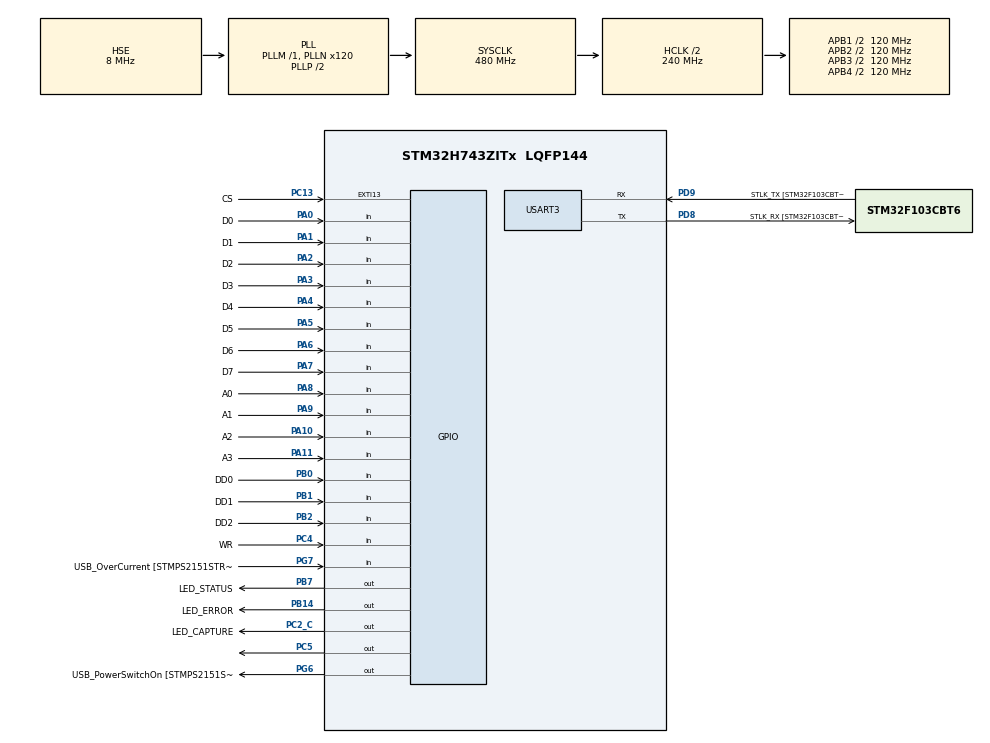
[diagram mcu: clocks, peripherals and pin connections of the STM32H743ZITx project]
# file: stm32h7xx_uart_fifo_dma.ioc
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Dma.Request0=USART3_TX
Dma.Request1=USART3_RX
Dma.USART3_RX.1.Direction=DMA_PERIPH_TO_MEMORY
Dma.USART3_RX.1.EventEnable=DISABLE
Dma.USART3_RX.1.FIFOMode=DMA_FIFOMODE_DISABLE
Dma.USART3_RX.1.Instance=DMA1_Stream0
Dma.USART3_RX.1.MemDataAlignment=DMA_MDATAALIGN_BYTE
Dma.USART3_RX.1.MemInc=DMA_MINC_ENABLE
Dma.USART3_RX.1.Mode=DMA_NORMAL
Dma.USART3_RX.1.PeriphDataAlignment=DMA_PDATAALIGN_BYTE
Dma.USART3_RX.1.PeriphInc=DMA_PINC_DISABLE
Dma.USART3_RX.1.Polarity=HAL_DMAMUX_REQ_GEN_RISING
Dma.USART3_RX.1.Priority=DMA_PRIORITY_LOW
Dma.USART3_RX.1.RequestNumber=1
Dma.USART3_RX.1.SignalID=NONE
Dma.USART3_RX.1.SyncEnable=DISABLE
Dma.USART3_RX.1.SyncPolarity=HAL_DMAMUX_SYNC_NO_EVENT
Dma.USART3_RX.1.SyncRequestNumber=1
Dma.USART3_RX.1.SyncSignalID=NONE
Dma.USART3_TX.0.Direction=DMA_MEMORY_TO_PERIPH
Dma.USART3_TX.0.EventEnable=DISABLE
Dma.USART3_TX.0.FIFOMode=DMA_FIFOMODE_DISABLE
Dma.USART3_TX.0.Instance=DMA1_Stream3
Dma.USART3_TX.0.MemDataAlignment=DMA_MDATAALIGN_BYTE
Dma.USART3_TX.0.MemInc=DMA_MINC_ENABLE
Dma.USART3_TX.0.Mode=DMA_NORMAL
Dma.USART3_TX.0.PeriphDataAlignment=DMA_PDATAALIGN_BYTE
Dma.USART3_TX.0.PeriphInc=DMA_PINC_DISABLE
Dma.USART3_TX.0.Polarity=HAL_DMAMUX_REQ_GEN_RISING
Dma.USART3_TX.0.Priority=DMA_PRIORITY_LOW
Dma.USART3_TX.0.RequestNumber=1
Dma.USART3_TX.0.SignalID=NONE
Dma.USART3_TX.0.SyncEnable=DISABLE
Dma.USART3_TX.0.SyncPolarity=HAL_DMAMUX_SYNC_NO_EVENT
Dma.USART3_TX.0.SyncRequestNumber=1
Dma.USART3_TX.0.SyncSignalID=NONE
Mcu.Family=STM32H7
Mcu.Name=STM32H743ZITx
Mcu.Package=LQFP144
NVIC.DMA1_Stream0_IRQn=true\:0\:0\:false\:false\:true\:false\:true
NVIC.DMA1_Stream3_IRQn=true\:0\:0\:false\:false\:true\:false\:true
NVIC.EXTI15_10_IRQn=true\:0\:0\:false\:false\:true\:true\:true
NVIC.PriorityGroup=NVIC_PRIORITYGROUP_4
NVIC.USART3_IRQn=true\:0\:0\:false\:false\:true\:true\:true
PA0.GPIO_Label=D0
PA0.GPIO_PuPd=GPIO_NOPULL
PA0.Signal=GPIO_Input
PA1.GPIO_Label=D1
PA1.GPIO_PuPd=GPIO_NOPULL
PA1.Signal=GPIO_Input
PA10.GPIO_Label=A2
PA10.Signal=GPIO_Input
PA11.GPIO_Label=A3
PA11.Signal=GPIO_Input
PA12.GPIO_Label=USB_DP
PA12.Signal=USB_OTG_FS_DP
PA2.GPIO_Label=D2
PA2.GPIO_PuPd=GPIO_NOPULL
PA2.Signal=GPIO_Input
PA3.GPIO_Label=D3
PA3.Signal=GPIO_Input
PA4.GPIO_Label=D4
PA4.Signal=GPIO_Input
PA5.GPIO_Label=D5
PA5.Signal=GPIO_Input
PA6.GPIO_Label=D6
PA6.Signal=GPIO_Input
PA7.GPIO_Label=D7
PA7.Signal=GPIO_Input
PA8.GPIO_Label=A0
PA8.Signal=GPIO_Input
PA9.GPIO_Label=A1
PA9.Signal=GPIO_Input
PB0.GPIO_Label=DD0
PB0.GPIO_PuPd=GPIO_PULLUP
PB0.Signal=GPIO_Input
PB1.GPIO_Label=DD1
PB1.GPIO_PuPd=GPIO_PULLUP
PB1.Signal=GPIO_Input
PB13.GPIO_Label=RMII_TXD1
PB13.Signal=ETH_TXD1
PB14.GPIO_Label=LED_ERROR
PB14.GPIO_Speed=GPIO_SPEED_FREQ_VERY_HIGH
PB14.Signal=GPIO_Output
PB2.GPIO_Label=DD2
PB2.GPIO_PuPd=GPIO_PULLUP
PB2.Signal=GPIO_Input
PB7.GPIO_FM7=SYSCFG_PMCR_I2C_PB7_FMP
PB7.GPIO_Label=LED_STATUS
PB7.GPIO_Speed=GPIO_SPEED_FREQ_VERY_HIGH
PB7.Signal=GPIO_Output
PC1.GPIO_Label=RMII_MDC
PC1.Signal=ETH_MDC
PC13.GPIO_Label=CS
PC13.GPIO_ModeDefaultEXTI=GPIO_MODE_IT_FALLING
PC13.GPIO_PuPd=GPIO_PULLUP
PC13.Signal=GPXTI13
PC14-OSC32_IN\ (OSC32_IN).Mode=LSE-External-Oscillator
PC14-OSC32_IN\ (OSC32_IN).Signal=RCC_OSC32_IN
PC15-OSC32_OUT\ (OSC32_OUT).Mode=LSE-External-Oscillator
PC15-OSC32_OUT\ (OSC32_OUT).Signal=RCC_OSC32_OUT
PC2_C.GPIO_Label=LED_CAPTURE
PC2_C.GPIO_Speed=GPIO_SPEED_FREQ_VERY_HIGH
PC2_C.Signal=GPIO_Output
PC4.GPIO_Label=WR
PC4.GPIO_PuPd=GPIO_PULLUP
PC4.Signal=GPIO_Input
PC5.Signal=GPIO_Output
PD8.GPIO_Label=STLK_RX [STM32F103CBT6_PA3]
PD8.Mode=Asynchronous
PD8.Signal=USART3_TX
PD9.GPIO_Label=STLK_TX [STM32F103CBT6_PA2]
PD9.Mode=Asynchronous
PD9.Signal=USART3_RX
PG11.GPIO_Label=RMII_TX_EN
PG11.Signal=ETH_TX_EN
PG13.GPIO_Label=RMII_TXD0
PG13.Signal=ETH_TXD0
PG6.GPIO_Label=USB_PowerSwitchOn [STMPS2151STR_EN]
PG6.Signal=GPIO_Output
PG7.GPIO_Label=USB_OverCurrent [STMPS2151STR_FAULT]
PG7.Signal=GPIO_Input
PH0-OSC_IN\ (PH0).GPIO_Label=MCO
PH0-OSC_IN\ (PH0).Mode=HSE-External-Clock-Source
PH0-OSC_IN\ (PH0).Signal=RCC_OSC_IN
PH1-OSC_OUT\ (PH1).Signal=RCC_OSC_OUT
ProjectManager.HeapSize=0x200
ProjectManager.StackSize=0x1000
ProjectManager.TargetToolchain=STM32CubeIDE
RCC.48MHZClocksFreq_Value=24000000
RCC.ADCFreq_Value=16125000
RCC.AHBFreq_Value=216000000
RCC.APB1CLKDivider=RCC_HCLK_DIV4
RCC.APB1Freq_Value=120000000
RCC.APB1TimFreq_Value=108000000
RCC.APB2CLKDivider=RCC_HCLK_DIV2
RCC.APB2Freq_Value=120000000
RCC.APB2TimFreq_Value=216000000
RCC.APB3Freq_Value=120000000
RCC.APB4Freq_Value=120000000
RCC.CortexFreq_Value=480000000
RCC.D1PPRE=RCC_APB3_DIV2
RCC.D2PPRE1=RCC_APB1_DIV2
RCC.D2PPRE2=RCC_APB2_DIV2
RCC.D3PPRE=RCC_APB4_DIV2
RCC.DIVM1=1
RCC.DIVN1=120
RCC.DIVQ1=4
RCC.HCLKFreq_Value=240000000
RCC.HPRE=RCC_HCLK_DIV2
RCC.HSE_VALUE=8000000
RCC.HSI_VALUE=64000000
RCC.PLLFRACN=0
RCC.PLLM=25
RCC.PLLMUL=RCC_PLL_MUL9
RCC.PLLN=432
RCC.PLLQ=9
RCC.PLLSourceVirtual=RCC_PLLSOURCE_HSE
RCC.PRESCALERUSB=RCC_USBCLKSOURCE_PLL_DIV1_5
RCC.PWR_Regulator_Voltage_Scale=PWR_REGULATOR_VOLTAGE_SCALE0
RCC.SYSCLKFreq_VALUE=480000000
RCC.SYSCLKSource=RCC_SYSCLKSOURCE_PLLCLK
RCC.SYSCLKSourceVirtual=RCC_SYSCLKSOURCE_PLLCLK
RCC.USBFreq_Value=240000000
RCC.VCOOutputFreq_Value=432000000
USART3.VirtualMode-Asynchronous=VM_ASYNC
board=NUCLEO-H743ZI

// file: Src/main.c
/* USER CODE BEGIN Header */
/**
  ******************************************************************************
  * @file           : main.c
  * @brief          : Main program body
  ******************************************************************************
  * @attention
  *
  * <h2><center>&copy; Copyright (c) 2020 STMicroelectronics.
  * All rights reserved.</center></h2>
  *
  * This software component is licensed by ST under BSD 3-Clause license,
  * the "License"; You may not use this file except in compliance with the
  * License. You may obtain a copy of the License at:
  *                        opensource.org/licenses/BSD-3-Clause
  *
  ******************************************************************************
  */
/* USER CODE END Header */

#include "main.h"

/* USER CODE BEGIN Includes */
#include "serial3.h"
/* USER CODE END Includes */

UART_HandleTypeDef huart3;
DMA_HandleTypeDef hdma_usart3_tx;
DMA_HandleTypeDef hdma_usart3_rx;

/* USER CODE BEGIN PV */
static app_uart_fifo_ctx_t	uart_instance3;

/* USER CODE END PV */

void SystemClock_Config(void);
static void MX_GPIO_Init(void);
static void MX_DMA_Init(void);
static void MX_USART3_UART_Init(void);

/* USER CODE BEGIN 0 */
/**
  * @brief  Tx Transfer completed callback
  * @param  huart: UART handle.
  * @note   This example shows a simple way to report end of DMA Tx transfer, and
  *         you can add your own implementation.
  * @retval None
  */
void HAL_UART_TxCpltCallback(UART_HandleTypeDef *huart)
{
	if (huart->Instance == USART3)
	{
		uart_instance3.irq_callback(&uart_instance3, APP_UART_IRQ_TX);
	}
}

void HAL_UART_RxCpltCallback(UART_HandleTypeDef *huart)
{
	if (huart->Instance == USART3)
	{
#if (defined APP_UART_FIFO_RX_DMA) && (APP_UART_FIFO_RX_DMA == 1)
		/* Get head position of rx_irq buffer
		 * __HAL_DMA_GET_COUNTER() is the macro return number of remaining data units in the current DMA Stream transfer */
		uart_instance3.rx_irq.head = uart_instance3.rx_irq.xfer_size - __HAL_DMA_GET_COUNTER(&hdma_usart3_rx);
		uart_instance3.irq_callback(&uart_instance3, APP_UART_IRQ_RX);
#else
		/* Get head position of rx_irq buffer
		* huart->RxXferCount shall return number of remaining data units in the current rx_irq buffer */
		uart_instance3.rx_irq.head = uart_instance3.rx_irq.xfer_size - huart->RxXferCount;
		uart_instance3.irq_callback(&uart_instance3, APP_UART_IRQ_RX);
#endif
	}
}

void HAL_UART_RxHalfCpltCallback(UART_HandleTypeDef *huart)
{
	if (huart->Instance == USART3)
	{
#if (defined APP_UART_FIFO_RX_DMA) && (APP_UART_FIFO_RX_DMA == 1)
		/* Get head position of rx_irq buffer
		 * __HAL_DMA_GET_COUNTER() is the macro return number of remaining data units in the current DMA Stream transfer */
		uart_instance3.rx_irq.head = uart_instance3.rx_irq.xfer_size - __HAL_DMA_GET_COUNTER(&hdma_usart3_rx);
		/* Using case APP_UART_IRQ_IDLE instead APP_UART_IRQ_RX because this isn't irq complete yet */
		uart_instance3.irq_callback(&uart_instance3, APP_UART_IRQ_IDLE);
#else
		/* Get head position of rx_irq buffer
		* huart->RxXferCount shall return number of remaining data units in the current rx_irq buffer */
		uart_instance3.rx_irq.head = uart_instance3.rx_irq.xfer_size - huart->RxXferCount;
		/* Using case APP_UART_IRQ_IDLE instead APP_UART_IRQ_RX because this isn't irq complete yet */
		uart_instance3.irq_callback(&uart_instance3, APP_UART_IRQ_IDLE);
#endif
	}
}

void USART_IDLE_line_IRQHandler(UART_HandleTypeDef *huart)
{
	if (huart->Instance == USART3)
	{
		if (__HAL_UART_GET_FLAG(huart, UART_FLAG_IDLE))
		{
			/* Clear IDLE line flag */
			__HAL_UART_CLEAR_FLAG(huart, UART_CLEAR_IDLEF);

#if (defined APP_UART_FIFO_RX_DMA) && (APP_UART_FIFO_RX_DMA == 1)
			/* Get head position of rx_irq buffer
			 * __HAL_DMA_GET_COUNTER() is the macro return number of remaining data units in the current DMA Stream transfer */
			uart_instance3.rx_irq.head = uart_instance3.rx_irq.xfer_size - __HAL_DMA_GET_COUNTER(&hdma_usart3_rx);
			/* Using case APP_UART_IRQ_IDLE instead APP_UART_IRQ_RX because this isn't irq complete yet */
			uart_instance3.irq_callback(&uart_instance3, APP_UART_IRQ_IDLE);
#else
			/* Get head position of rx_irq buffer
			* huart->RxXferCount shall return number of remaining data units in the current rx_irq buffer */
			uart_instance3.rx_irq.head = uart_instance3.rx_irq.xfer_size - huart->RxXferCount;
			/* Using case APP_UART_IRQ_IDLE instead APP_UART_IRQ_RX because this isn't irq complete yet */
			uart_instance3.irq_callback(&uart_instance3, APP_UART_IRQ_IDLE);
#endif
		}
	}
}

/* Event callback app_uart_fifo */
static void uart_instance3_event_handle(struct app_uart_fifo_ctx *p_app_cxt, app_uart_evt_t *p_event)
{
	if (p_app_cxt == &uart_instance3)
	{
		switch (p_event->evt_type)
		{
		case EVT_APP_UART_TX_READY:
			break;

		case EVT_APP_UART_RX_READY:
			break;

		case EVT_APP_UART_TX_EMPTY:
			break;

		case EVT_APP_UART_RX_EMPTY:
			break;

		case EVT_APP_UART_TX_OVER:
			break;

		case EVT_APP_UART_RX_OVER:
			break;

		case EVT_APP_UART_DATA_READY:
			break;

		case EVT_APP_UART_DATA_SENDING:
			break;

		case EVT_APP_UART_TX_FIFO_ERROR:
			break;

		case EVT_APP_UART_RX_FIFO_ERROR:
			break;

		case EVT_APP_UART_COMMUNICATION_ERROR:
			break;

		default:
			break;
		}
	}
}

/* callback uart transmit start
 * Using DMA Tx
 * */
static void uart_instance3_transmit_start_cb(uint8_t *p_data, uint32_t lenght)
{
	HAL_UART_Transmit_DMA(&huart3, p_data, lenght);
}

/* callback uart receive start
 * Using Interrupt rx
 * */
static void uart_instance3_receive_start_cb(uint8_t *p_data, uint32_t lenght)
{
#if (defined APP_UART_FIFO_RX_DMA) && (APP_UART_FIFO_RX_DMA == 1)
	HAL_UART_Receive_DMA(&huart3, p_data, lenght);
#else
	HAL_UART_Receive_IT(&huart3, p_data, lenght);
#endif
}

/* USER CODE END 0 */

int main(void)
{

  /* MCU Configuration--------------------------------------------------------*/

  /* Reset of all peripherals, Initializes the Flash interface and the Systick. */
  HAL_Init();

  /* Configure the system clock */
  SystemClock_Config();

  /* Initialize all configured peripherals */
  MX_GPIO_Init();
  MX_DMA_Init();
  MX_USART3_UART_Init();
  /* USER CODE BEGIN 2 */

  /* Init object app_uart_fifo */
  uart_instance3.fp_transmit = uart_instance3_transmit_start_cb;
  uart_instance3.fp_receive = uart_instance3_receive_start_cb;
  uart_instance3.fp_event = uart_instance3_event_handle;
  uart_instance3_Init(&uart_instance3);

  /* USER CODE END 2 */

  /* Infinite loop */
  /* USER CODE BEGIN WHILE */

  UART_INSTANCE3_PRINTF("\r\nSerial frame communication V1.0.1\n\r");
  while (1)
  {
	/* Uart instance3 echo test */
	uart_instance3_echo();

    /* USER CODE END WHILE */

  }
}

void SystemClock_Config(void)
{
  RCC_OscInitTypeDef RCC_OscInitStruct = {0};
  RCC_ClkInitTypeDef RCC_ClkInitStruct = {0};
  RCC_PeriphCLKInitTypeDef PeriphClkInitStruct = {0};

  /** Supply configuration update enable
  */
  HAL_PWREx_ConfigSupply(PWR_LDO_SUPPLY);
  /** Configure the main internal regulator output voltage
  */
  __HAL_PWR_VOLTAGESCALING_CONFIG(PWR_REGULATOR_VOLTAGE_SCALE0);

  while(!__HAL_PWR_GET_FLAG(PWR_FLAG_VOSRDY)) {}
  /** Initializes the CPU, AHB and APB busses clocks
  */
  RCC_OscInitStruct.OscillatorType = RCC_OSCILLATORTYPE_HSE;
  RCC_OscInitStruct.HSEState = RCC_HSE_BYPASS;
  RCC_OscInitStruct.PLL.PLLState = RCC_PLL_ON;
  RCC_OscInitStruct.PLL.PLLSource = RCC_PLLSOURCE_HSE;
  RCC_OscInitStruct.PLL.PLLM = 1;
  RCC_OscInitStruct.PLL.PLLN = 120;
  RCC_OscInitStruct.PLL.PLLP = 2;
  RCC_OscInitStruct.PLL.PLLQ = 4;
  RCC_OscInitStruct.PLL.PLLR = 2;
  RCC_OscInitStruct.PLL.PLLRGE = RCC_PLL1VCIRANGE_3;
  RCC_OscInitStruct.PLL.PLLVCOSEL = RCC_PLL1VCOWIDE;
  RCC_OscInitStruct.PLL.PLLFRACN = 0;
  if (HAL_RCC_OscConfig(&RCC_OscInitStruct) != HAL_OK)
  {
    Error_Handler();
  }
  /** Initializes the CPU, AHB and APB busses clocks
  */
  RCC_ClkInitStruct.ClockType = RCC_CLOCKTYPE_HCLK|RCC_CLOCKTYPE_SYSCLK
                              |RCC_CLOCKTYPE_PCLK1|RCC_CLOCKTYPE_PCLK2
                              |RCC_CLOCKTYPE_D3PCLK1|RCC_CLOCKTYPE_D1PCLK1;
  RCC_ClkInitStruct.SYSCLKSource = RCC_SYSCLKSOURCE_PLLCLK;
  RCC_ClkInitStruct.SYSCLKDivider = RCC_SYSCLK_DIV1;
  RCC_ClkInitStruct.AHBCLKDivider = RCC_HCLK_DIV2;
  RCC_ClkInitStruct.APB3CLKDivider = RCC_APB3_DIV2;
  RCC_ClkInitStruct.APB1CLKDivider = RCC_APB1_DIV2;
  RCC_ClkInitStruct.APB2CLKDivider = RCC_APB2_DIV2;
  RCC_ClkInitStruct.APB4CLKDivider = RCC_APB4_DIV2;

  if (HAL_RCC_ClockConfig(&RCC_ClkInitStruct, FLASH_LATENCY_4) != HAL_OK)
  {
    Error_Handler();
  }
  PeriphClkInitStruct.PeriphClockSelection = RCC_PERIPHCLK_USART3;
  PeriphClkInitStruct.Usart234578ClockSelection = RCC_USART234578CLKSOURCE_D2PCLK1;
  if (HAL_RCCEx_PeriphCLKConfig(&PeriphClkInitStruct) != HAL_OK)
  {
    Error_Handler();
  }
}

static void MX_USART3_UART_Init(void)
{

  huart3.Instance = USART3;
  huart3.Init.BaudRate = 115200;
  huart3.Init.WordLength = UART_WORDLENGTH_8B;
  huart3.Init.StopBits = UART_STOPBITS_1;
  huart3.Init.Parity = UART_PARITY_NONE;
  huart3.Init.Mode = UART_MODE_TX_RX;
  huart3.Init.HwFlowCtl = UART_HWCONTROL_NONE;
  huart3.Init.OverSampling = UART_OVERSAMPLING_16;
  huart3.Init.OneBitSampling = UART_ONE_BIT_SAMPLE_DISABLE;
  huart3.Init.ClockPrescaler = UART_PRESCALER_DIV1;
  huart3.AdvancedInit.AdvFeatureInit = UART_ADVFEATURE_NO_INIT;
  if (HAL_UART_Init(&huart3) != HAL_OK)
  {
    Error_Handler();
  }
  if (HAL_UARTEx_SetTxFifoThreshold(&huart3, UART_TXFIFO_THRESHOLD_1_8) != HAL_OK)
  {
    Error_Handler();
  }
  if (HAL_UARTEx_SetRxFifoThreshold(&huart3, UART_RXFIFO_THRESHOLD_1_8) != HAL_OK)
  {
    Error_Handler();
  }
  if (HAL_UARTEx_DisableFifoMode(&huart3) != HAL_OK)
  {
    Error_Handler();
  }
  /* USER CODE BEGIN USART3_Init 2 */
  __HAL_UART_ENABLE_IT(&huart3, UART_IT_IDLE);
  /* USER CODE END USART3_Init 2 */

}

static void MX_DMA_Init(void)
{

  /* DMA controller clock enable */
  __HAL_RCC_DMA1_CLK_ENABLE();

  /* DMA interrupt init */
  /* DMA1_Stream0_IRQn interrupt configuration */
  HAL_NVIC_SetPriority(DMA1_Stream0_IRQn, 0, 0);
  HAL_NVIC_EnableIRQ(DMA1_Stream0_IRQn);
  /* DMA1_Stream3_IRQn interrupt configuration */
  HAL_NVIC_SetPriority(DMA1_Stream3_IRQn, 0, 0);
  HAL_NVIC_EnableIRQ(DMA1_Stream3_IRQn);

}

static void MX_GPIO_Init(void)
{
  GPIO_InitTypeDef GPIO_InitStruct = {0};

  /* GPIO Ports Clock Enable */
  __HAL_RCC_GPIOC_CLK_ENABLE();
  __HAL_RCC_GPIOH_CLK_ENABLE();
  __HAL_RCC_GPIOA_CLK_ENABLE();
  __HAL_RCC_GPIOB_CLK_ENABLE();
  __HAL_RCC_GPIOD_CLK_ENABLE();
  __HAL_RCC_GPIOG_CLK_ENABLE();

  /*Configure GPIO pin Output Level */
  HAL_GPIO_WritePin(GPIOC, LED_CAPTURE_Pin|GPIO_PIN_5, GPIO_PIN_RESET);

  /*Configure GPIO pin Output Level */
  HAL_GPIO_WritePin(GPIOB, LED_ERROR_Pin|LED_STATUS_Pin, GPIO_PIN_RESET);

  /*Configure GPIO pin Output Level */
  HAL_GPIO_WritePin(USB_PowerSwitchOn_GPIO_Port, USB_PowerSwitchOn_Pin, GPIO_PIN_RESET);

  /*Configure GPIO pin : CS_Pin */
  GPIO_InitStruct.Pin = CS_Pin;
  GPIO_InitStruct.Mode = GPIO_MODE_IT_FALLING;
  GPIO_InitStruct.Pull = GPIO_PULLUP;
  HAL_GPIO_Init(CS_GPIO_Port, &GPIO_InitStruct);

  /*Configure GPIO pin : RMII_MDC_Pin */
  GPIO_InitStruct.Pin = RMII_MDC_Pin;
  GPIO_InitStruct.Mode = GPIO_MODE_AF_PP;
  GPIO_InitStruct.Pull = GPIO_NOPULL;
  GPIO_InitStruct.Speed = GPIO_SPEED_FREQ_LOW;
  GPIO_InitStruct.Alternate = GPIO_AF11_ETH;
  HAL_GPIO_Init(RMII_MDC_GPIO_Port, &GPIO_InitStruct);

  /*Configure GPIO pin : LED_CAPTURE_Pin */
  GPIO_InitStruct.Pin = LED_CAPTURE_Pin;
  GPIO_InitStruct.Mode = GPIO_MODE_OUTPUT_PP;
  GPIO_InitStruct.Pull = GPIO_NOPULL;
  GPIO_InitStruct.Speed = GPIO_SPEED_FREQ_VERY_HIGH;
  HAL_GPIO_Init(LED_CAPTURE_GPIO_Port, &GPIO_InitStruct);

  /*Configure GPIO pins : D0_Pin D1_Pin D2_Pin D3_Pin
                           D4_Pin D5_Pin D6_Pin D7_Pin
                           A0_Pin A1_Pin A2_Pin A3_Pin */
  GPIO_InitStruct.Pin = D0_Pin|D1_Pin|D2_Pin|D3_Pin
                          |D4_Pin|D5_Pin|D6_Pin|D7_Pin
                          |A0_Pin|A1_Pin|A2_Pin|A3_Pin;
  GPIO_InitStruct.Mode = GPIO_MODE_INPUT;
  GPIO_InitStruct.Pull = GPIO_NOPULL;
  HAL_GPIO_Init(GPIOA, &GPIO_InitStruct);

  /*Configure GPIO pin : WR_Pin */
  GPIO_InitStruct.Pin = WR_Pin;
  GPIO_InitStruct.Mode = GPIO_MODE_INPUT;
  GPIO_InitStruct.Pull = GPIO_PULLUP;
  HAL_GPIO_Init(WR_GPIO_Port, &GPIO_InitStruct);

  /*Configure GPIO pin : PC5 */
  GPIO_InitStruct.Pin = GPIO_PIN_5;
  GPIO_InitStruct.Mode = GPIO_MODE_OUTPUT_PP;
  GPIO_InitStruct.Pull = GPIO_NOPULL;
  GPIO_InitStruct.Speed = GPIO_SPEED_FREQ_LOW;
  HAL_GPIO_Init(GPIOC, &GPIO_InitStruct);

  /*Configure GPIO pins : DD0_Pin DD1_Pin DD2_Pin */
  GPIO_InitStruct.Pin = DD0_Pin|DD1_Pin|DD2_Pin;
  GPIO_InitStruct.Mode = GPIO_MODE_INPUT;
  GPIO_InitStruct.Pull = GPIO_PULLUP;
  HAL_GPIO_Init(GPIOB, &GPIO_InitStruct);

  /*Configure GPIO pin : RMII_TXD1_Pin */
  GPIO_InitStruct.Pin = RMII_TXD1_Pin;
  GPIO_InitStruct.Mode = GPIO_MODE_AF_PP;
  GPIO_InitStruct.Pull = GPIO_NOPULL;
  GPIO_InitStruct.Speed = GPIO_SPEED_FREQ_LOW;
  GPIO_InitStruct.Alternate = GPIO_AF11_ETH;
  HAL_GPIO_Init(RMII_TXD1_GPIO_Port, &GPIO_InitStruct);

  /*Configure GPIO pins : LED_ERROR_Pin LED_STATUS_Pin */
  GPIO_InitStruct.Pin = LED_ERROR_Pin|LED_STATUS_Pin;
  GPIO_InitStruct.Mode = GPIO_MODE_OUTPUT_PP;
  GPIO_InitStruct.Pull = GPIO_NOPULL;
  GPIO_InitStruct.Speed = GPIO_SPEED_FREQ_VERY_HIGH;
  HAL_GPIO_Init(GPIOB, &GPIO_InitStruct);

  /*Configure GPIO pin : USB_PowerSwitchOn_Pin */
  GPIO_InitStruct.Pin = USB_PowerSwitchOn_Pin;
  GPIO_InitStruct.Mode = GPIO_MODE_OUTPUT_PP;
  GPIO_InitStruct.Pull = GPIO_NOPULL;
  GPIO_InitStruct.Speed = GPIO_SPEED_FREQ_LOW;
  HAL_GPIO_Init(USB_PowerSwitchOn_GPIO_Port, &GPIO_InitStruct);

  /*Configure GPIO pin : USB_OverCurrent_Pin */
  GPIO_InitStruct.Pin = USB_OverCurrent_Pin;
  GPIO_InitStruct.Mode = GPIO_MODE_INPUT;
  GPIO_InitStruct.Pull = GPIO_NOPULL;
  HAL_GPIO_Init(USB_OverCurrent_GPIO_Port, &GPIO_InitStruct);

  /*Configure GPIO pin : USB_DP_Pin */
  GPIO_InitStruct.Pin = USB_DP_Pin;
  GPIO_InitStruct.Mode = GPIO_MODE_AF_PP;
  GPIO_InitStruct.Pull = GPIO_NOPULL;
  GPIO_InitStruct.Speed = GPIO_SPEED_FREQ_LOW;
  GPIO_InitStruct.Alternate = GPIO_AF10_OTG1_FS;
  HAL_GPIO_Init(USB_DP_GPIO_Port, &GPIO_InitStruct);

  /*Configure GPIO pins : RMII_TX_EN_Pin RMII_TXD0_Pin */
  GPIO_InitStruct.Pin = RMII_TX_EN_Pin|RMII_TXD0_Pin;
  GPIO_InitStruct.Mode = GPIO_MODE_AF_PP;
  GPIO_InitStruct.Pull = GPIO_NOPULL;
  GPIO_InitStruct.Speed = GPIO_SPEED_FREQ_LOW;
  GPIO_InitStruct.Alternate = GPIO_AF11_ETH;
  HAL_GPIO_Init(GPIOG, &GPIO_InitStruct);

  /**/
  HAL_I2CEx_EnableFastModePlus(SYSCFG_PMCR_I2C_PB7_FMP);

  /* EXTI interrupt init*/
  HAL_NVIC_SetPriority(EXTI15_10_IRQn, 0, 0);
  HAL_NVIC_EnableIRQ(EXTI15_10_IRQn);

}

void Error_Handler(void)
{
}

/************************ (C) COPYRIGHT STMicroelectronics *****END OF FILE****/
